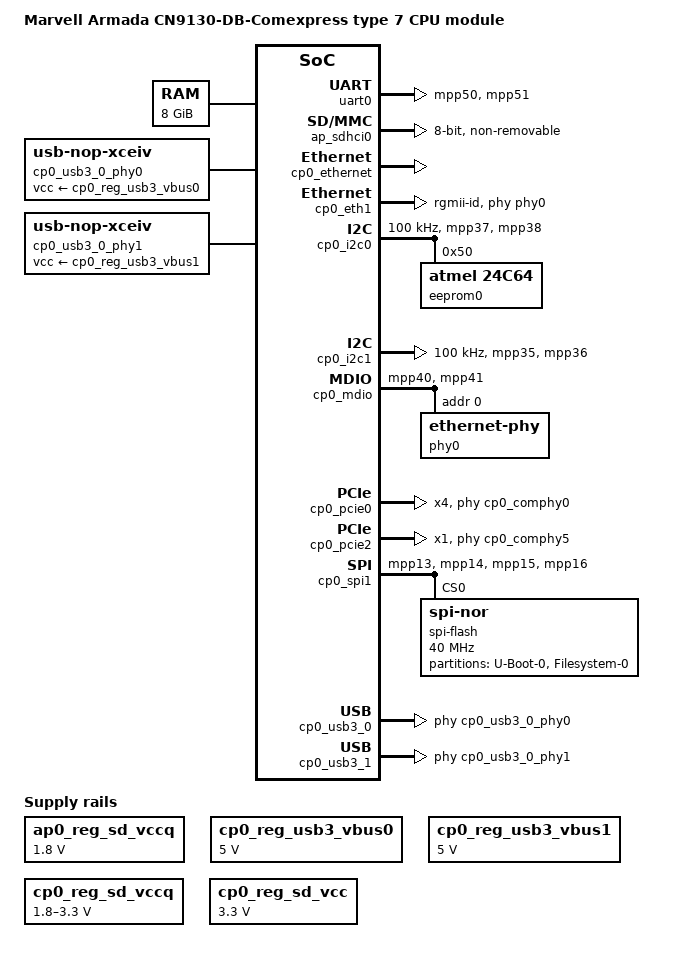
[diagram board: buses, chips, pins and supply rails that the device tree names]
// SPDX-License-Identifier: (GPL-2.0+ OR MIT)
/*
 * Copyright (C) 2019 Marvell International Ltd.
 *
 * Device tree for the CN9130 based COM Express type 7 board.
 */

#include "cn9130.dtsi"

#include <dt-bindings/gpio/gpio.h>

/ {
	model = "Marvell Armada CN9130-DB-Comexpress type 7 CPU module";

	chosen {
		stdout-path = "serial0:115200n8";
	};

	aliases {
		gpio1 = &cp0_gpio1;
		gpio2 = &cp0_gpio2;
		i2c0 = &cp0_i2c0;
		i2c1 = &cp0_i2c1;
		ethernet0 = &cp0_eth0;
		ethernet1 = &cp0_eth1;
		ethernet2 = &cp0_eth2;
		spi1 = &cp0_spi0;
		spi2 = &cp0_spi1;
	};

	memory@00000000 {
		device_type = "memory";
		reg = <0x0 0x0 0x2 0x00000000>;
	};

	ap0_reg_sd_vccq: ap0_sd_vccq@0 {
		compatible = "regulator-gpio";
		regulator-name = "ap0_sd_vccq";
		regulator-min-microvolt = <1800000>;
		regulator-max-microvolt = <1800000>;
		states = <1800000 0x1 1800000 0x0>;
	};

	cp0_reg_usb3_vbus0: cp0_usb3_vbus@0 {
		compatible = "regulator-fixed";
		regulator-name = "cp0-xhci0-vbus";
		regulator-min-microvolt = <5000000>;
		regulator-max-microvolt = <5000000>;
		enable-active-high;
	};

	cp0_usb3_0_phy0: cp0_usb3_phy@0 {
		compatible = "usb-nop-xceiv";
		vcc-supply = <&cp0_reg_usb3_vbus0>;
	};

	cp0_reg_usb3_vbus1: cp0_usb3_vbus@1 {
		compatible = "regulator-fixed";
		regulator-name = "cp0-xhci1-vbus";
		regulator-min-microvolt = <5000000>;
		regulator-max-microvolt = <5000000>;
		enable-active-high;
	};

	cp0_usb3_0_phy1: cp0_usb3_phy@1 {
		compatible = "usb-nop-xceiv";
		vcc-supply = <&cp0_reg_usb3_vbus1>;
	};

	cp0_reg_sd_vccq: cp0_sd_vccq@0 {
		compatible = "regulator-gpio";
		regulator-name = "cp0_sd_vccq";
		regulator-min-microvolt = <1800000>;
		regulator-max-microvolt = <3300000>;
		states = <1800000 0x1
			  3300000 0x0>;
	};

	cp0_reg_sd_vcc: cp0_sd_vcc@0 {
		compatible = "regulator-fixed";
		regulator-name = "cp0_sd_vcc";
		regulator-min-microvolt = <3300000>;
		regulator-max-microvolt = <3300000>;
		enable-active-high;
		regulator-always-on;
	};

	cp0_sfp_eth0: sfp-eth@0 {
		compatible = "sff,sfp";
		/*
		 * SFP cages are unconnected on early PCBs because of an the I2C
		 * lanes not being connected. Prevent the port for being
		 * unusable by disabling the SFP node.
		 */
		status = "disabled";
	};
};

&uart0 {
	pinctrl-names = "default";
	pinctrl-0 = <&cp0_uart2_pins>;
	status = "okay";
};

/* on-board eMMC - U9 */
&ap_sdhci0 {
	pinctrl-names = "default";
	bus-width = <8>;
	vqmmc-supply = <&ap0_reg_sd_vccq>;
	status = "okay";
	non-removable;
	mmc-ddr-1_8v;
	mmc-hs200-1_8v;
	mmc-hs400-1_8v;
};

&cp0_crypto {
	status = "disabled";
};

&cp0_ethernet {
	status = "okay";
};

/* SLM-1521-V2, CON9 */
&cp0_eth0 {
	status = "disabled";
	phy-mode = "10gbase-kr";
	/* Generic PHY, providing serdes lanes */
	phys = <&cp0_comphy4 0>;
	managed = "in-band-status";
	sfp = <&cp0_sfp_eth0>;
};

/* CON56 */
&cp0_eth1 {
	status = "okay";
	phy = <&phy0>;
	phy-mode = "rgmii-id";
};

/* CON57 */
&cp0_eth2 {
	status = "disabled";
	phy-mode = "rgmii-id";
};

&cp0_gpio1 {
	status = "okay";
};

&cp0_gpio2 {
	status = "okay";
};

&cp0_i2c0 {
	status = "okay";
	pinctrl-names = "default";
	pinctrl-0 = <&cp0_i2c0_pins>;
	clock-frequency = <100000>;

	/* U42 */
	eeprom0: eeprom@50 {
		compatible = "atmel,24c64";
		reg = <0x50>;
		pagesize = <0x20>;
	};
};

&cp0_i2c1 {
	status = "okay";
	clock-frequency = <100000>;
	pinctrl-names = "default";
	pinctrl-0 = <&cp0_i2c1_pins>;
};

&cp0_mdio {
	status = "okay";
	pinctrl-0 = <&cp0_ge_mdio_pins>;
	phy0: ethernet-phy@0 {
		marvell,reg-init = <3 16 0 0x1a4a>;
		reg = <0>;
	};
};

/* PCIE X4 Slot */
&cp0_pcie0 {
	status = "okay";
	num-lanes = <4>;
	num-viewport = <8>;
	/* Generic PHY, providing serdes lanes */
	phys = <&cp0_comphy0 0
		&cp0_comphy1 0
		&cp0_comphy2 0
		&cp0_comphy3 0>;
};

/* PCIE X1 Slot */
&cp0_pcie2 {
	status = "okay";
	num-lanes = <1>;
	num-viewport = <8>;
	phys = <&cp0_comphy5 2>;
};

/*
 * &cp0_sdhci0 {
 *	status = "disabled";
 *	pinctrl-names = "default";
 *	pinctrl-0 = <&cp0_sdhci_pins
 *		     &cp0_sdhci_cd_pins>;
 *	bus-width = <4>;
 *	cd-gpios = <&cp0_gpio2 11 GPIO_ACTIVE_LOW>;
 *	no-1-8-v;
 *	vqmmc-supply = <&cp0_reg_sd_vccq>;
 *	vmmc-supply = <&cp0_reg_sd_vcc>;
 * };
 */

/* U55 */
&cp0_spi1 {
	status = "okay";
	pinctrl-names = "default";
	pinctrl-0 = <&cp0_spi0_pins>;
	reg = <0x700680 0x50>;

	spi-flash@0 {
		#address-cells = <0x1>;
		#size-cells = <0x1>;
		compatible = "jedec,spi-nor";
		reg = <0x0>;
		/* On-board MUX does not allow higher frequencies */
		spi-max-frequency = <40000000>;

		partitions {
			compatible = "fixed-partitions";
			#address-cells = <1>;
			#size-cells = <1>;

			partition@0 {
				label = "U-Boot-0";
				reg = <0x0 0x200000>;
			};

			partition@400000 {
				label = "Filesystem-0";
				reg = <0x200000 0xe00000>;
			};
		};
	};
};

&cp0_syscon0 {
	cp0_pinctrl: pinctrl {
		compatible = "marvell,cp115-standalone-pinctrl";

		cp0_ge_mdio_pins: ge-mdio-pins {
			marvell,pins = "mpp40", "mpp41";
			marvell,function = "ge";
		};
		cp0_i2c0_pins: cp0-i2c-pins-0 {
			marvell,pins = "mpp37", "mpp38";
			marvell,function = "i2c0";
		};
		cp0_i2c1_pins: cp0-i2c-pins-1 {
			marvell,pins = "mpp35", "mpp36";
			marvell,function = "i2c1";
		};
		cp0_ge1_rgmii_pins: cp0-ge-rgmii-pins-0 {
			marvell,pins = "mpp0", "mpp1", "mpp2",
				       "mpp3", "mpp4", "mpp5",
				       "mpp6", "mpp7", "mpp8",
				       "mpp9", "mpp10", "mpp11";
			marvell,function = "ge0";
		};
		cp0_sdhci_cd_pins: cp0-sdhci-cd-pins-0 {
			marvell,pins = "mpp55";
			marvell,function = "sdio";
		};
		cp0_sdhci_pins: cp0-sdhi-pins-0 {
			marvell,pins = "mpp56", "mpp57", "mpp58",
				       "mpp59", "mpp60", "mpp61";
			marvell,function = "sdio";
		};
		cp0_spi0_pins: cp0-spi-pins-0 {
			marvell,pins = "mpp13", "mpp14", "mpp15", "mpp16";
			marvell,function = "spi1";
		};
		cp0_uart2_pins: uart22-pins {
			marvell,pins = "mpp50", "mpp51";
			marvell,function = "uart2";
		};
		cp0_jtag_upgrade_pins: cp0-jtag-pins-0 {
			marvell,pins =	"mpp54", "mpp56", "mpp57", "mpp61";
			marvell,function = "gpio";
		};
	};
};

&cp0_usb3_0 {
	status = "okay";
	usb-phy = <&cp0_usb3_0_phy0>;
	phy-names = "usb";
};

&cp0_usb3_1 {
	status = "okay";
	usb-phy = <&cp0_usb3_0_phy1>;
	phy-names = "usb";
};
